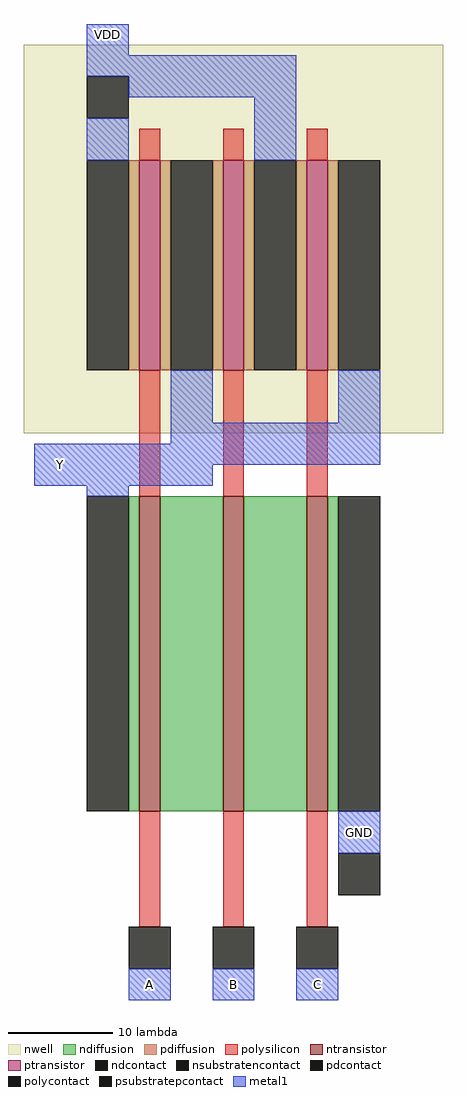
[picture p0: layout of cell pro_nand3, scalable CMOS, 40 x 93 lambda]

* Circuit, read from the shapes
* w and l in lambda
.subckt pro_nand3 A B C GND VDD Y
M1 n1 A Y GND nfet w=30 l=2
M2 n2 B n1 GND nfet w=30 l=2
M3 GND C n2 GND nfet w=30 l=2
M4 Y A VDD VDD pfet w=20 l=2
M5 VDD B Y VDD pfet w=20 l=2
M6 Y C VDD VDD pfet w=20 l=2
.ends

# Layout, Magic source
magic
tech scmos
<< nwell >>
rect -6 -6 34 31
<< ntransistor >>
rect 5 -42 7 -12
rect 13 -42 15 -12
rect 21 -42 23 -12
<< ptransistor >>
rect 5 0 7 20
rect 13 0 15 20
rect 21 0 23 20
<< ndiffusion >>
rect 4 -42 5 -12
rect 7 -42 13 -12
rect 15 -42 21 -12
rect 23 -42 24 -12
<< pdiffusion >>
rect 4 0 5 20
rect 7 0 8 20
rect 12 0 13 20
rect 15 0 16 20
rect 20 0 21 20
rect 23 0 24 20
<< ndcontact >>
rect 0 -42 4 -12
rect 24 -42 28 -12
<< pdcontact >>
rect 0 0 4 20
rect 8 0 12 20
rect 16 0 20 20
rect 24 0 28 20
<< psubstratepcontact >>
rect 24 -50 28 -46
<< nsubstratencontact >>
rect 0 24 4 28
<< polysilicon >>
rect 5 20 7 23
rect 13 20 15 23
rect 21 20 23 23
rect 5 -12 7 0
rect 13 -12 15 0
rect 21 -12 23 0
rect 5 -53 7 -42
rect 13 -53 15 -42
rect 21 -53 23 -42
<< polycontact >>
rect 4 -57 8 -53
rect 12 -57 16 -53
rect 20 -57 24 -53
<< metal1 >>
rect 0 30 4 33
rect 0 28 20 30
rect 4 26 20 28
rect 0 20 4 24
rect 16 20 20 26
rect 8 -5 12 0
rect 24 -5 28 0
rect 8 -7 28 -5
rect -5 -9 28 -7
rect -5 -11 12 -9
rect 0 -12 4 -11
rect 24 -46 28 -42
rect 4 -60 8 -57
rect 12 -60 16 -57
rect 20 -60 24 -57
<< labels >>
rlabel metal1 4 -60 8 -57 1 A
rlabel metal1 12 -60 16 -57 1 B
rlabel metal1 20 -60 24 -57 1 C
rlabel metal1 24 -46 28 -42 1 GND
rlabel metal1 -5 -11 0 -7 3 Y
rlabel metal1 0 31 4 33 5 VDD
<< end >>
